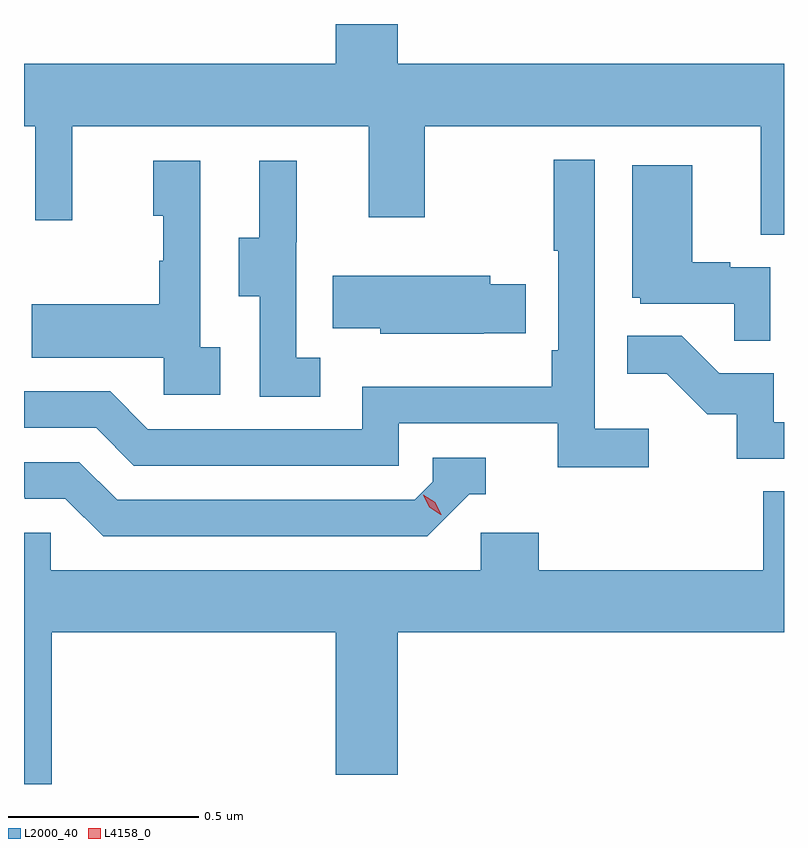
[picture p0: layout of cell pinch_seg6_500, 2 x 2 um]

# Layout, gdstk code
import gdstk
lib = gdstk.Library(unit=1e-6, precision=1e-09)
def P(c, l, *ps):  # polygons
    for p in ps: c.add(gdstk.Polygon(p, *l))
L2000_40 = (2000, 40)
L4158_0 = (4158, 0)

pinch_seg6_500 = lib.new_cell('pinch_seg6_500')
P(pinch_seg6_500, L2000_40, [(849.504,926.188),(848.488,926.188),(848.488,926.293),(848.324,926.293),(848.324,926.188),(847.504,926.188),(847.504,926.024),(847.533,926.024),(847.533,925.776),(847.631,925.776),(847.631,926.024),(848.411,926.024),(848.411,925.785),(848.559,925.785),(848.559,926.024),(849.443,926.024),(849.443,925.738),(849.504,925.738)],
  [(849.148,925.228),(849.006,925.228),(849.006,925.936),(848.898,925.936),(848.898,925.696),(848.91,925.696),(848.91,925.435),(848.893,925.435),(848.893,925.339),(848.394,925.339),(848.394,925.227),(847.83,925.227),(847.731,925.326),(847.504,925.326),(847.504,925.23),(847.694,925.23),(847.793,925.131),(848.49,925.131),(848.49,925.242),(848.909,925.242),(848.909,925.126),(849.148,925.126)],
  [(848.02,925.442),(847.968,925.442),(847.968,925.933),(847.844,925.933),(847.844,925.788),(847.87,925.788),(847.87,925.67),(847.86,925.67),(847.86,925.555),(847.525,925.555),(847.525,925.415),(847.872,925.415),(847.872,925.317),(848.02,925.317)],
  [(848.284,925.415),(848.22,925.415),(848.22,925.719),(848.222,925.719),(848.222,925.933),(848.123,925.933),(848.123,925.731),(848.069,925.731),(848.069,925.576),(848.124,925.576),(848.124,925.312),(848.284,925.312)],
  [(849.468,925.653),(849.362,925.653),(849.362,925.666),(849.262,925.666),(849.262,925.921),(849.104,925.921),(849.104,925.572),(849.126,925.572),(849.126,925.557),(849.373,925.557),(849.373,925.459),(849.468,925.459)],
  [(848.714,925.479),(848.825,925.479),(848.825,925.608),(848.731,925.608),(848.731,925.63),(848.317,925.63),(848.317,925.493),(848.442,925.493),(848.442,925.478),(848.714,925.478)],
  [(849.504,925.245),(849.477,925.245),(849.477,925.374),(849.333,925.374),(849.235,925.472),(849.091,925.472),(849.091,925.373),(849.195,925.373),(849.302,925.266),(849.379,925.266),(849.379,925.149),(849.504,925.149)],
  [(848.676,925.056),(848.719,925.056),(848.719,925.152),(848.58,925.152),(848.58,925.089),(848.532,925.041),(847.749,925.041),(847.65,925.14),(847.504,925.14),(847.504,925.047),(847.506,925.047),(847.506,925.044),(847.613,925.044),(847.712,924.945),(848.565,924.945)],
  [(847.577,924.692),(848.324,924.692),(848.324,924.318),(848.488,924.318),(848.488,924.692),(849.504,924.692),(849.504,925.064),(849.449,925.064),(849.449,924.856),(848.858,924.856),(848.858,924.954),(848.706,924.954),(848.706,924.856),(847.575,924.856),(847.575,924.954),(847.504,924.954),(847.504,924.293),(847.577,924.293)])
P(pinch_seg6_500, L4158_0, [(848.601,925.002),(848.571,925.021),(848.555,925.054),(848.555,925.054),(848.555,925.054),(848.586,925.034),(848.602,925.002),(848.602,925.002)])

lib.write_gds('pinch_seg6_500.gds')
